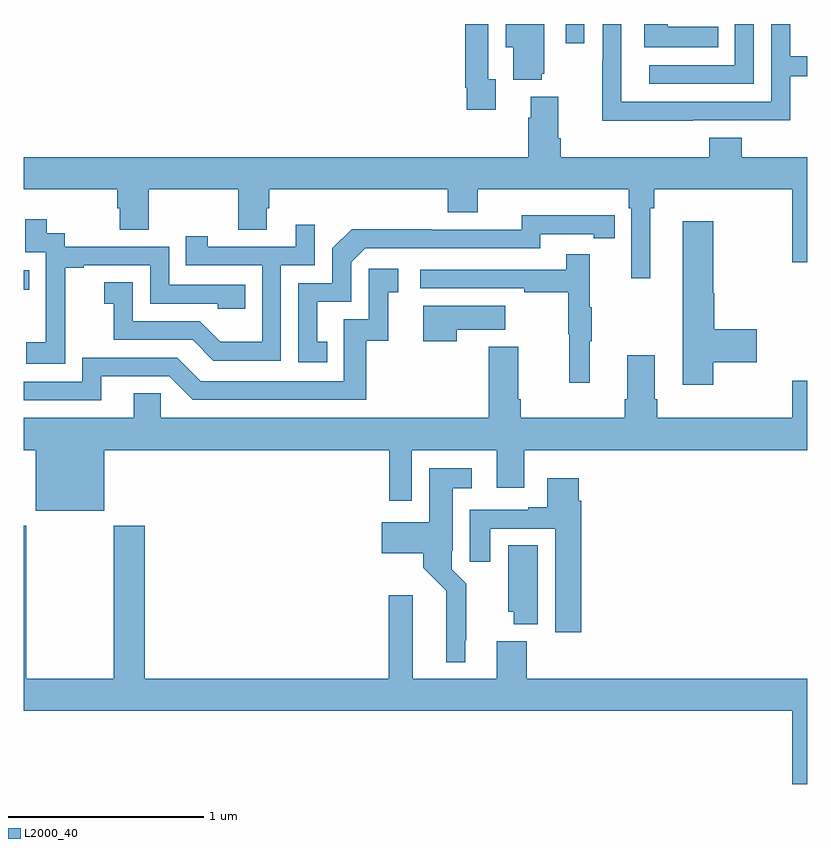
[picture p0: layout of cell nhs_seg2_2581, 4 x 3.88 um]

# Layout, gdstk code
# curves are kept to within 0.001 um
import gdstk
lib = gdstk.Library(unit=1e-6, precision=1e-09)
def R(c, l, rs):  # rectangles x0, y0, x1, y1
    for r in rs: c.add(gdstk.rectangle(r[:2], r[2:], *l))
def P(c, l, *ps):  # polygons
    for p in ps: c.add(gdstk.Polygon(p, *l))
L2000_40 = (2000, 40)

nhs_seg2_2581 = lib.new_cell('nhs_seg2_2581')
R(nhs_seg2_2581, L2000_40, [(245,660.442,245.027,660.543), (247.767,661.701,247.863,661.8)])
P(nhs_seg2_2581, L2000_40, [(248.417,661.308),(248.913,661.308),(248.913,661.533),(249,661.533),(249,661.634),(248.913,661.634),(248.913,661.8),(248.817,661.8),(248.817,661.404),(248.052,661.404),(248.052,661.8),(247.956,661.8),(247.956,661.613),(247.954,661.613),(247.954,661.307),(248.417,661.307)],
  [(248.546,661.786),(248.289,661.786),(248.289,661.8),(248.168,661.8),(248.168,661.682),(248.546,661.682)],
  [(247.411,661.518),(247.371,661.518),(247.371,661.8),(247.255,661.8),(247.255,661.474),(247.263,661.474),(247.263,661.362),(247.411,661.362)],
  [(248.727,661.8),(248.631,661.8),(248.631,661.59),(248.193,661.59),(248.193,661.494),(248.727,661.494)],
  [(247.646,661.545),(247.657,661.545),(247.657,661.8),(247.46,661.8),(247.46,661.682),(247.499,661.682),(247.499,661.514),(247.646,661.514)],
  [(248.2,660.86),(248.219,660.86),(248.219,660.956),(248.924,660.956),(248.924,660.582),(249,660.582),(249,661.12),(248.666,661.12),(248.666,661.219),(248.501,661.219),(248.501,661.12),(247.742,661.12),(247.742,661.216),(247.729,661.216),(247.729,661.429),(247.589,661.429),(247.589,661.322),(247.577,661.322),(247.577,661.12),(245,661.12),(245,660.956),(245.477,660.956),(245.477,660.858),(245.489,660.858),(245.489,660.748),(245.637,660.748),(245.637,660.956),(246.094,660.956),(246.094,660.748),(246.241,660.748),(246.241,660.858),(246.254,660.858),(246.254,660.956),(247.166,660.956),(247.166,660.839),(247.318,660.839),(247.318,660.956),(248.09,660.956),(248.09,660.86),(248.103,660.86),(248.103,660.501),(248.2,660.501)],
  [(246.548,660.177),(246.499,660.177),(246.499,660.381),(246.672,660.381),(246.672,660.582),(246.744,660.654),(247.638,660.654),(247.638,660.726),(247.91,660.726),(247.91,660.706),(248.018,660.706),(248.018,660.822),(247.542,660.823),(247.542,660.75),(247.082,660.75),(247.082,660.752),(246.674,660.752),(246.576,660.654),(246.576,660.477),(246.402,660.477),(246.402,660.072),(246.548,660.072)],
  [(245.211,660.271),(245.21,660.271),(245.21,660.555),(245.305,660.555),(245.305,660.567),(245.646,660.567),(245.646,660.372),(245.991,660.372),(245.991,660.345),(246.131,660.345),(246.131,660.468),(245.742,660.468),(245.742,660.663),(245.208,660.663),(245.208,660.732),(245.116,660.732),(245.116,660.802),(245.007,660.802),(245.007,660.633),(245.112,660.633),(245.112,660.404),(245.111,660.404),(245.111,660.175),(245.013,660.175),(245.013,660.065),(245.211,660.065)],
  [(248.52,660.071),(248.743,660.071),(248.743,660.242),(248.525,660.242),(248.525,660.425),(248.52,660.425),(248.52,660.793),(248.366,660.793),(248.366,659.958),(248.52,659.958)],
  [(246.312,660.567),(246.486,660.567),(246.486,660.775),(246.389,660.775),(246.389,660.663),(245.938,660.663),(245.938,660.715),(245.827,660.715),(245.827,660.567),(246.216,660.567),(246.216,660.178),(246.002,660.178),(245.898,660.282),(245.556,660.282),(245.556,660.481),(245.409,660.481),(245.409,660.371),(245.458,660.371),(245.458,660.186),(245.861,660.186),(245.966,660.081),(246.312,660.081)],
  [(247.889,660.179),(247.9,660.179),(247.9,660.353),(247.889,660.353),(247.889,660.625),(247.771,660.625),(247.771,660.546),(247.023,660.546),(247.023,660.45),(247.555,660.45),(247.555,660.43),(247.779,660.43),(247.779,660.216),(247.786,660.216),(247.786,659.967),(247.889,659.967)],
  [(245.395,660),(245.742,660),(245.862,659.88),(246.749,659.88),(246.749,660.183),(246.86,660.183),(246.86,660.429),(246.913,660.429),(246.913,660.55),(246.762,660.55),(246.762,660.291),(246.633,660.291),(246.633,659.976),(245.904,659.976),(245.784,660.096),(245.298,660.096),(245.298,659.973),(245,659.973),(245,659.877),(245.395,659.877)],
  [(247.211,660.239),(247.459,660.239),(247.459,660.361),(247.04,660.361),(247.04,660.18),(247.211,660.18)],
  [(245.41,659.624),(246.865,659.624),(246.865,659.364),(246.981,659.364),(246.981,659.624),(247.415,659.624),(247.415,659.43),(247.555,659.43),(247.555,659.624),(249,659.624),(249,659.977),(248.924,659.977),(248.924,659.788),(248.234,659.788),(248.234,659.884),(248.221,659.884),(248.221,660.109),(248.081,660.109),(248.081,659.884),(248.069,659.884),(248.069,659.788),(247.538,659.788),(247.538,659.884),(247.525,659.884),(247.525,660.151),(247.373,660.151),(247.373,659.788),(245.7,659.788),(245.7,659.915),(245.561,659.915),(245.561,659.788),(245,659.788),(245,659.624),(245.06,659.624),(245.06,659.315),(245.41,659.315)],
  [(247.255,658.651),(247.259,658.651),(247.259,658.942),(247.185,659.016),(247.185,659.11),(247.189,659.11),(247.189,659.429),(247.288,659.429),(247.288,659.53),(247.07,659.53),(247.07,659.254),(246.828,659.254),(246.828,659.096),(247.04,659.096),(247.04,659.022),(247.158,658.904),(247.157,658.541),(247.255,658.541)],
  [(247.847,659.366),(247.834,659.366),(247.834,659.479),(247.673,659.479),(247.673,659.332),(247.577,659.332),(247.577,659.319),(247.277,659.319),(247.277,659.052),(247.381,659.052),(247.381,659.223),(247.715,659.223),(247.715,658.692),(247.847,658.692)],
  [(249,658.456),(247.568,658.456),(247.568,658.648),(247.415,658.648),(247.415,658.456),(246.985,658.456),(246.985,658.882),(246.863,658.882),(246.863,658.456),(245.618,658.456),(245.618,659.236),(245.458,659.236),(245.458,658.456),(245.013,658.456),(245.013,659.236),(245,659.236),(245,658.292),(248.924,658.292),(248.924,657.918),(249,657.918)],
  [(247.624,659.138),(247.475,659.138),(247.475,658.797),(247.502,658.797),(247.502,658.733),(247.624,658.733)])

lib.write_gds('nhs_seg2_2581.gds')
